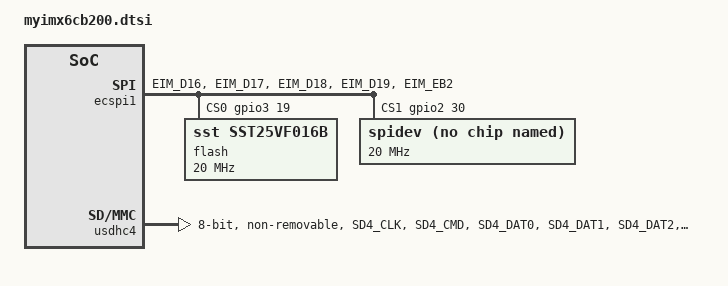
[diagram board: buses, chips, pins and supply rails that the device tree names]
/*
 * MYZR Technology Co.,Ltd
 * http://www.myzr.com.cn
 * Tang Bin <tangb@myzr.com.cn>
 */

&ecspi1 {
	fsl,spi-num-chipselects = <2>;
	cs-gpios = <&gpio3 19 0>, <&gpio2 30 0>;
	pinctrl-names = "default";
	pinctrl-0 = <&pinctrl_spi1>;
	status = "okay";

	flash: m25p80@0 {
		#address-cells = <1>;
		#size-cells = <1>;
		compatible = "sst,sst25vf016b";
		spi-max-frequency = <20000000>;
		reg = <0>;
	};
	
	spidev@1 {
		compatible = "spidev";
		spi-max-frequency = <20000000>;
		reg = <1>;
	};
};

&usdhc4 {
	pinctrl-names = "default";
	pinctrl-0 = <&pinctrl_sd4>;
	bus-width = <8>;
	non-removable;
	no-1-8-v;
	keep-power-in-suspend;
	status = "okay";
};

&iomuxc {
	myimx6cb200 {
		pinctrl_spi1: spi1grp {
			fsl,pins = <
				MX6QDL_PAD_EIM_D16__ECSPI1_SCLK		0x100b1
				MX6QDL_PAD_EIM_D17__ECSPI1_MISO		0x100b1
				MX6QDL_PAD_EIM_D18__ECSPI1_MOSI		0x100b1
				/* SPI1_CS1 */
				MX6QDL_PAD_EIM_D19__GPIO3_IO19		0x80000000
				/* SPI1_CS0 */
				MX6QDL_PAD_EIM_EB2__GPIO2_IO30		0x80000000
			>;
		};
		
		pinctrl_sd4: sd4grp {
			fsl,pins = <
				MX6QDL_PAD_SD4_CLK__SD4_CLK			0x10059
				MX6QDL_PAD_SD4_CMD__SD4_CMD			0x17059
				MX6QDL_PAD_SD4_DAT0__SD4_DATA0		0x17059
				MX6QDL_PAD_SD4_DAT1__SD4_DATA1		0x17059
				MX6QDL_PAD_SD4_DAT2__SD4_DATA2		0x17059
				MX6QDL_PAD_SD4_DAT3__SD4_DATA3		0x17059
				MX6QDL_PAD_SD4_DAT4__SD4_DATA4		0x17059
				MX6QDL_PAD_SD4_DAT5__SD4_DATA5		0x17059
				MX6QDL_PAD_SD4_DAT6__SD4_DATA6		0x17059
				MX6QDL_PAD_SD4_DAT7__SD4_DATA7		0x17059
			>;
		};
	};
};
